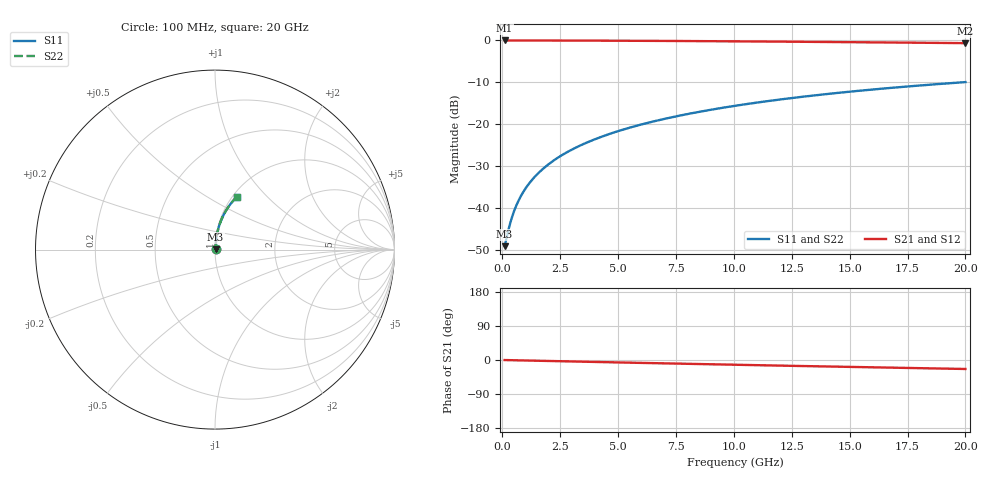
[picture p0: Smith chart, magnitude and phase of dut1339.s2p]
! Touchstone file exported from HFSS 2024.1.0
!  File:  C:/UserFiles/LocalFiles/RDL_TSV_Batchsim/temp_RDL_bottom_1339_1780369762.aedt
!  Generated:  11:12:18 AM Jun  2, 2026
!  Design:  RDL_bottom
!  Project:  temp_RDL_bottom_1339_1780369762
!  Setup:  Setup1
!  Solution:  Sweep
! Variables:
!  dtsv = 10.80580581um
!  hbump = 3um
!  htsv = 84.77um
!  ldown = 234.83um
!  lrdl = 100um
!  p = 40
!  p1 = 54.66um
!  rhole = 1um
!  t = 450um
!  tdown = 2.53um
!  trdl = 3.915915916um
!  wdown = 11.61um
!  wrdl = 20um
# GHz S MA R 50.000000
! Terminal data exported
! Port[1] = RDL1_T1
! Port[2] = RDL1_T2
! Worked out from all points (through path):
!   200 points, 100 MHz to 20 GHz, reference 50 ohm
!   highest |S21| = -0.03 dB at 100 MHz (marker M1); lowest = -0.7 dB at 20 GHz (marker M2)
!   group delay of S21, straight-line fit = 3.29 ps
!   lowest |S11| = -49.2 dB at 100 MHz (marker M3), VSWR 1.01, Z = 50.3 + j0.17 ohm
!   |S11| at or under -10 dB: start of sweep to 19.95 GHz
!   |S22| runs from -49.2 to -10.0 dB; largest |S21 - S12| = 2e-15
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0.1  0.003469 29.1  0.997 -0.1  0.997 -0.1  0.003469 29.1
! Gamma 0 0 0 0
! Port Impedance 50 0 50 0
0.3  0.005923 58.4  0.9969 -0.4  0.9969 -0.4  0.005923 58.4
0.4  0.007417 64.8  0.9968 -0.5  0.9968 -0.5  0.007417 64.8
0.5  0.008965 69.0  0.9968 -0.7  0.9968 -0.7  0.008965 69.0
0.6  0.01054 71.8  0.9967 -0.8  0.9967 -0.8  0.01054 71.8
0.7  0.01213 73.9  0.9966 -0.9  0.9966 -0.9  0.01213 73.9
0.9  0.01532 76.8  0.9965 -1.2  0.9965 -1.2  0.01532 76.8
1.2  0.02014 79.3  0.9962 -1.6  0.9962 -1.6  0.02014 79.3
1.4  0.02337 80.3  0.996 -1.8  0.996 -1.8  0.02337 80.3
1.7  0.02822 81.4  0.9958 -2.2  0.9958 -2.2  0.02822 81.4
2.2  0.03633 82.4  0.9952 -2.9  0.9952 -2.9  0.03633 82.4
2.8  0.04611 83.0  0.9944 -3.6  0.9944 -3.6  0.04611 83.0
3.5  0.05756 83.1  0.9932 -4.5  0.9932 -4.5  0.05756 83.1
4.2  0.06904 83.0  0.9918 -5.4  0.9918 -5.4  0.06904 83.0
5  0.08219 82.6  0.9899 -6.4  0.9899 -6.4  0.08219 82.7
5.9  0.09701 82.1  0.9876 -7.5  0.9876 -7.5  0.09702 82.1
6.8  0.1118 81.4  0.9849 -8.6  0.9849 -8.6  0.1118 81.4
8.3  0.1365 80.0  0.98 -10.5  0.98 -10.5  0.1365 80.0
10.1  0.1659 78.3  0.9733 -12.6  0.9733 -12.6  0.1659 78.3
13.4  0.2186 74.7  0.9592 -16.4  0.9592 -16.4  0.2186 74.7
16.7  0.2691 71.1  0.9432 -20.1  0.9432 -20.1  0.2692 71.2
20  0.317 67.6  0.9259 -23.7  0.9259 -23.7  0.317 67.6
